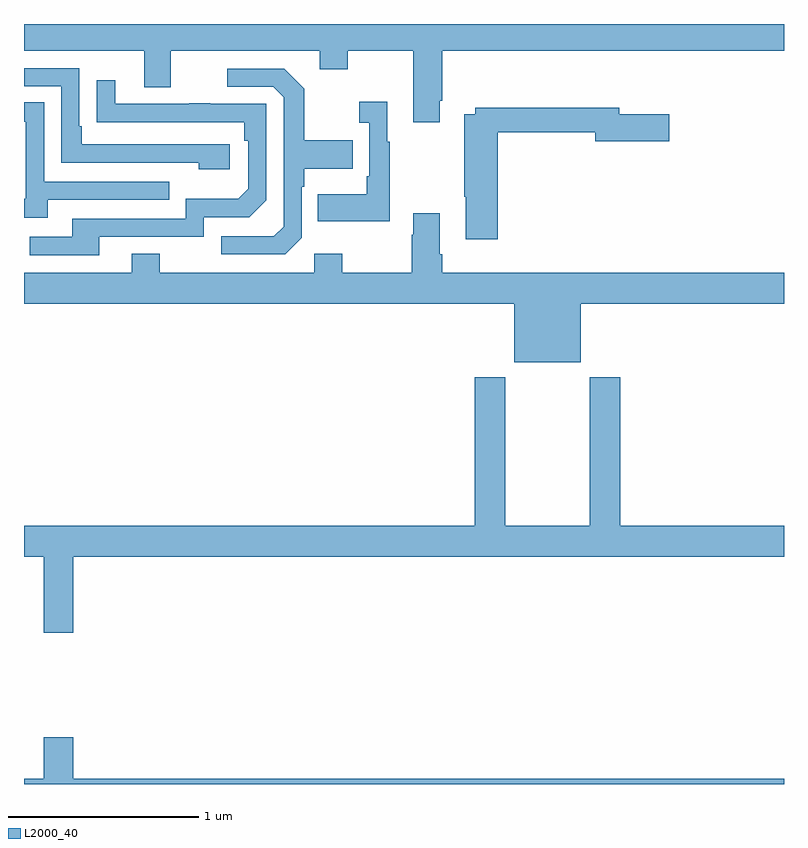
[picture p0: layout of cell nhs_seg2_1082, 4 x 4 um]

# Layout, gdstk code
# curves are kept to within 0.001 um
import gdstk
lib = gdstk.Library(unit=1e-6, precision=1e-09)
def P(c, l, *ps):  # polygons
    for p in ps: c.add(gdstk.Polygon(p, *l))
L2000_40 = (2000, 40)

nhs_seg2_1082 = lib.new_cell('nhs_seg2_1082')
P(nhs_seg2_1082, L2000_40, [(169.189,623.395),(169.202,623.395),(169.202,623.66),(171,623.66),(171,623.8),(167,623.8),(167,623.66),(167.633,623.66),(167.633,623.466),(167.773,623.466),(167.773,623.66),(168.557,623.66),(168.557,623.561),(168.705,623.561),(168.705,623.66),(169.049,623.66),(169.049,623.283),(169.189,623.283)],
  [(168.082,623.166),(167.305,623.166),(167.305,623.263),(167.292,623.263),(167.292,623.568),(167,623.568),(167,623.472),(167.196,623.472),(167.196,623.07),(167.921,623.07),(167.921,623.036),(168.082,623.036)],
  [(168.462,622.674),(168.462,622.943),(168.475,622.943),(168.475,623.039),(168.731,623.039),(168.731,623.187),(168.475,623.187),(168.475,623.459),(168.369,623.565),(168.069,623.565),(168.069,623.469),(168.312,623.469),(168.366,623.415),(168.366,622.734),(168.315,622.683),(168.039,622.683),(168.039,622.587),(168.375,622.587)],
  [(167.395,622.68),(167.946,622.68),(167.946,622.782),(168.186,622.782),(168.276,622.872),(168.276,623.379),(167.981,623.379),(167.981,623.384),(167.869,623.384),(167.869,623.379),(167.479,623.379),(167.479,623.503),(167.383,623.503),(167.383,623.284),(168.16,623.283),(168.16,623.186),(168.18,623.186),(168.18,622.932),(168.127,622.879),(167.85,622.879),(167.85,622.776),(167.255,622.776),(167.255,622.68),(167.031,622.68),(167.031,622.584),(167.395,622.584)],
  [(168.925,623.179),(168.913,623.179),(168.913,623.392),(168.765,623.392),(168.765,623.279),(168.816,623.279),(168.816,622.999),(168.804,622.999),(168.804,622.903),(168.547,622.903),(168.547,622.763),(168.925,622.763)],
  [(167.125,622.875),(167.765,622.875),(167.765,622.971),(167.106,622.971),(167.106,623.387),(167,623.387),(167,623.286),(167.01,623.286),(167.01,622.881),(167,622.881),(167,622.781),(167.125,622.781)],
  [(169.493,623.23),(170.006,623.23),(170.006,623.183),(170.395,623.183),(170.395,623.325),(170.134,623.325),(170.134,623.359),(169.374,623.359),(169.374,623.326),(169.318,623.326),(169.318,622.891),(169.325,622.891),(169.325,622.668),(169.493,622.668)],
  [(169.93,622.328),(171,622.328),(171,622.492),(169.202,622.492),(169.202,622.588),(169.189,622.588),(169.189,622.804),(169.049,622.804),(169.049,622.691),(169.042,622.691),(169.042,622.492),(168.675,622.492),(168.675,622.591),(168.528,622.591),(168.528,622.492),(167.715,622.492),(167.715,622.591),(167.567,622.591),(167.567,622.492),(167,622.492),(167,622.328),(169.58,622.328),(169.58,622.019),(169.93,622.019)],
  [(167.258,620.996),(171,620.996),(171,621.16),(170.138,621.16),(170.138,621.94),(169.978,621.94),(169.978,621.16),(169.533,621.16),(169.533,621.94),(169.373,621.94),(169.373,621.16),(167,621.16),(167,620.996),(167.105,620.996),(167.105,620.595),(167.258,620.595)],
  [(171,619.828),(167.258,619.828),(167.258,620.047),(167.105,620.047),(167.105,619.828),(167,619.828),(167,619.8),(171,619.8)])

lib.write_gds('nhs_seg2_1082.gds')
